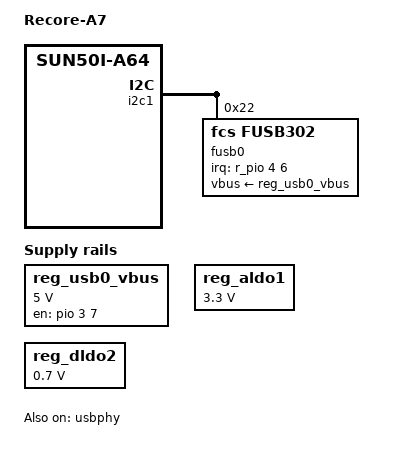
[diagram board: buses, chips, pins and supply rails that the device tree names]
// SPDX-License-Identifier: (GPL-2.0+ OR MIT)

/dts-v1/;

#include "sun50i-a64-recore.dtsi"
#include <dt-bindings/usb/pd.h>

/ {
	model = "Recore-A7";
	compatible = "iagent,recore-a6", "allwinner,sun50i-a64";

	reg_usb0_vbus: usb0-vbus {
		compatible = "regulator-fixed";
		regulator-name = "usb0-vbus0";
		regulator-type = "voltage";
		gpio = <&pio 3 7 GPIO_ACTIVE_HIGH>; // PD7
		regulator-min-microvolt = <5000000>;
		regulator-max-microvolt = <5000000>;
		enable-active-high;
		status = "okay";
	};

};

&pio{
	reg_usb1_vbus3_pins: reg-usb1-vbus3-pins {
		pins = "PD6";
		function = "reg_usb1_vbus3";
	};
	reg_usb1_vbus4_pins: reg-usb1-vbus4-pins {
		pins = "PD5";
		function = "reg_usb1_vbus4";
	};
};

&reg_usb1_vbus3 {
	gpio = <&pio 3 5 GPIO_ACTIVE_HIGH> ; /* PD5 */
};

&reg_usb1_vbus4 {
	gpio = <&pio 3 6 GPIO_ACTIVE_HIGH> ; /* PD6 */
};

&reg_aldo1 {
	regulator-always-on;
	regulator-min-microvolt = <3300000>;
	regulator-max-microvolt = <3300000>;
	regulator-name = "vcc-ext";
};


/* Set over current to lowest value: 35 A = 700 mV */
&reg_dldo2 {
	regulator-min-microvolt = <700000>;
	regulator-max-microvolt = <700000>;
};

&reg_aldo2 {
	status = "disabled";
};

&reg_dldo3 {
	status = "disabled";
};

&reg_dldo4 {
	status = "disabled";
};

&r_pio {
	fusb302x {
		fusb0_int_pin: fusb0-int-pin {
			pins = "PE6";
			function = "gpio_in";
		};
	};
};

&i2c1 {
	status = "okay";

	fusb0: fusb30x@22 {
		compatible = "fcs,fusb302";
		reg = <0x22>;
		pinctrl-names = "default";
		pinctrl-0 = <&fusb0_int_pin>;
		vbus-supply = <&reg_usb0_vbus>;
		interrupt-parent = <&r_pio>;
		interrupts = <4 6 IRQ_TYPE_EDGE_FALLING>; // PE6

		port {
			#address-cells = <1>;
			#size-cells = <0>;

			/*usb_hs: endpoint@0 {
				reg = <0>;
				remote-endpoint = <&usb0_hs>;
			};*/
		};

		usb_con: connector {
			compatible = "usb-c-connector";
			data-role = "dual";
			label = "USB-C";
			op-sink-microwatt = <2500000>;
			power-role = "dual";
			sink-pdos =	<PDO_FIXED(5000, 1000, PDO_FIXED_USB_COMM)>;
			source-pdos =	<PDO_FIXED(5000, 1000, PDO_FIXED_USB_COMM)>;
			try-power-role = "sink";

			ports {
				#address-cells = <1>;
				#size-cells = <0>;
				/*port@0 {
					reg = <0>;
					fusb302_ep: endpoint {
						remote-endpoint = <&usb0_role_switch>;
					};
				};*/
			};
		};
	};
};

/*&spi1{
	status = "okay";

	mcp2515can: can@0 {
		compatible = "microchip,mcp2515";
		reg = <0>;
		spi-max-frequency = <1000000>;
		clock-frequency = <8000000>;
		interrupt-parent = <&r_pio>;
		interrupts = <0 11 IRQ_TYPE_EDGE_FALLING>;
	};

	spidev@0 {
		compatible = "armbian,spi-dev";
		spi-max-frequency = <1000000>;
		reg = <0>;
	};
};*/

&uart3 {
	status = "disabled";
};

&uart4 {
	status = "disabled";
};

/*&usb_otg {
	dr_mode = "device";
	status = "okay";
};*/

/*&reg_drivevbus {
	regulator-name = "usb0-vbus";
	status = "okay";
};*/

/*&usb_power_supply {
	status = "okay";
};*/


&usbphy {
	/*usb0_vbus_power-supply = <&usb_power_supply>;*/
	/*usb0_vbus-supply = <&reg_drivevbus>;*/
	/*usb0_vbus-supply = <&reg_usb0_vbus>;*/
	/*usb0_vbus_det-gpios = <&pio 7 5 (GPIO_ACTIVE_HIGH)>;*/
	usb0_id_det-gpios   = <&pio 4 7 GPIO_ACTIVE_LOW>;
	status = "okay";
	/*port {
		#address-cells = <1>;
		#size-cells = <0>;
		usb0_role_switch: endpoint@0 {
			reg = <0>;
			remote-endpoint = <&fusb302_ep>;
		};
	};*/
};


&ehci0 {
	/*port {
		usb0_hs: endpoint {
			remote-endpoint = <&usb_hs>;
		};
	};*/
};
